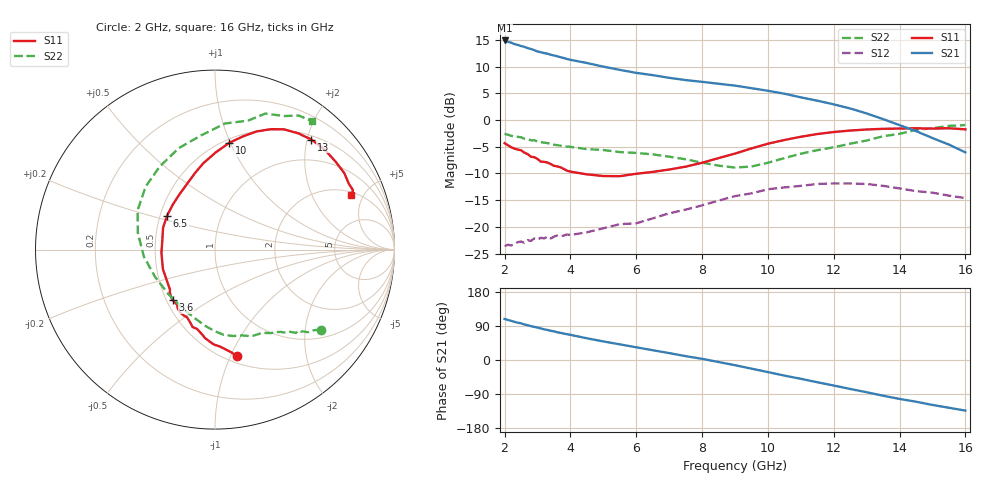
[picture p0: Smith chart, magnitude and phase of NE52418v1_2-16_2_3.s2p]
! NEC Compound Semiconductor Devices Ltd.
! 20. August 2002
! NE52418
! NPN GaAs HBT
! Vce = 2 V  Ic = 3 mA
# GHz  S  MA  R  50
!  f  S11  S21  S12  S22
!  GHz  MAG  ANG  MAG  ANG  MAG  ANG  MAG  ANG
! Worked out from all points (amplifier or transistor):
!   45 points, 2 GHz to 16 GHz, reference 50 ohm
!   highest |S21| = 14.9 dB at 2 GHz (marker M1)
!   |S21| within 3 dB of that: start of sweep to 3.621 GHz
!   unconditionally stable (mu >= 1): 3.778 GHz to 8.22 GHz
!   at 2.7 GHz: K = 0.75, MSG = 18.0 dB, |S12| = -22.5 dB
!   at 5 GHz: K = 1.09, MAG = 13.3 dB, |S12| = -20.3 dB
!   at 16 GHz: K = 0.42, MSG = 4.3 dB, |S12| = -14.6 dB
!   lowest NFmin = 0.24 dB at 800 MHz
!   S11 on the Smith chart (normalised r, x): 2 GHz: 0.56, -1.06; 3.6 GHz: 0.54, -0.35; 6.5 GHz: 0.54, +0.23; 10 GHz: 0.53, +0.99; 13 GHz: 0.57, +2.08; 16 GHz: 2.22, +4.06
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2  0.607 -78.4  5.55 108.2  0.066 48.4  0.743 -37.2
2.3  0.54 -87.3  5.133 100.7  0.069 46.8  0.702 -40.3
2.5  0.521 -92.0  4.923 96.8  0.073 45.0  0.69 -41.8
2.6  0.495 -96.6  4.837 93.8  0.071 45.6  0.668 -43.0
2.8  0.453 -102.8  4.618 89.3  0.074 44.0  0.646 -44.5
3.2  0.406 -115.8  4.231 81.0  0.078 42.2  0.614 -48.5
3.6  0.368 -129.9  3.946 73.2  0.083 40.8  0.582 -52.1
4.5  0.31 -159.4  3.415 57.3  0.089 40.8  0.534 -60.3
5  0.299 -176.4  3.158 49.0  0.097 41.2  0.524 -67.1
5.5  0.298 170.1  2.944 41.3  0.106 42.3  0.501 -72.6
6.5  0.327 144.8  2.629 25.8  0.12 41.7  0.477 -84.3
7  0.344 133.1  2.482 18.2  0.134 40.2  0.454 -90.3
8  0.398 113.0  2.276 3.1  0.159 36.1  0.399 -106.2
9  0.485 97.8  2.098 -13.7  0.194 27.5  0.359 -136.5
10  0.6 82.4  1.877 -31.9  0.225 16.4  0.398 -174.3
10.5  0.65 76.1  1.762 -41.2  0.234 10.2  0.44 167.8
11.5  0.739 65.2  1.516 -58.7  0.252 -3.2  0.522 137.8
12.5  0.797 54.3  1.282 -76.4  0.255 -17.0  0.6 109.7
13  0.815 48.8  1.152 -85.1  0.252 -24.5  0.643 96.5
14  0.832 35.9  0.895 -102.7  0.229 -38.8  0.742 75.6
15  0.831 26.2  0.678 -118.6  0.209 -50.8  0.838 62.6
16  0.818 21.7  0.498 -133.5  0.186 -59.7  0.897 52.8
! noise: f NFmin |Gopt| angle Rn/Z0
0.8  0.24  0.39  6  0.2
1  0.43  0.42  13  0.21
1.2  0.44  0.44  17  0.22
1.4  0.56  0.54  16.6  0.2
1.6  0.6  0.45  21.6  0.21
1.8  0.67  0.43  26  0.21
2  0.75  0.43  31.4  0.21
2.2  0.83  0.42  35.1  0.21
2.4  0.91  0.41  37  0.2
2.6  0.99  0.35  44  0.2
